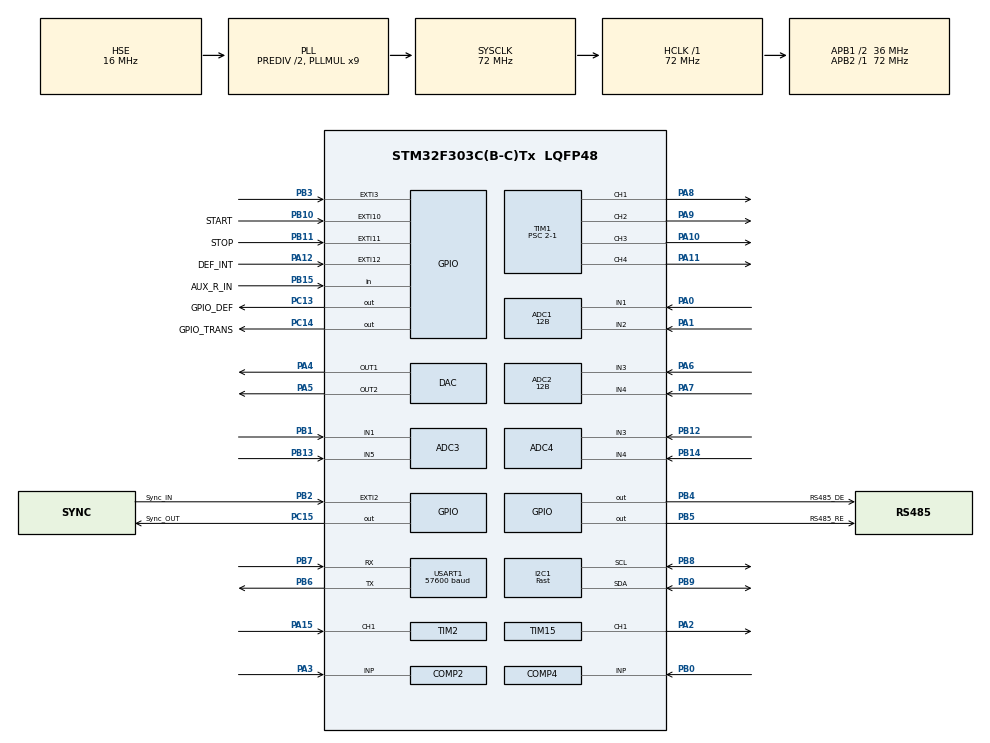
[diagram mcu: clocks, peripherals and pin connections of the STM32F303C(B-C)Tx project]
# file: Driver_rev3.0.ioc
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ADC1.Channel-3\#ChannelRegularConversion=ADC_CHANNEL_1
ADC1.ClockPrescaler=ADC_CLOCK_SYNC_PCLK_DIV1
ADC1.ContinuousConvMode=DISABLE
ADC1.DMAContinuousRequests=ENABLE
ADC1.DataAlign=ADC_DATAALIGN_RIGHT
ADC1.DiscontinuousConvMode=DISABLE
ADC1.EOCSelection=ADC_EOC_SINGLE_CONV
ADC1.EnableAnalogWatchDog1=false
ADC1.EnableAnalogWatchDog2=false
ADC1.EnableAnalogWatchDog3=false
ADC1.EnableInjectedConversion=ENABLE
ADC1.EnableRegularConversion=ENABLE
ADC1.ExternalTrigConv=ADC_SOFTWARE_START
ADC1.ExternalTrigConvEdge=ADC_EXTERNALTRIGCONVEDGE_NONE
ADC1.InjNumberOfConversion=0
ADC1.LowPowerAutoWait=DISABLE
ADC1.NbrOfConversion=1
ADC1.NbrOfConversionFlag=1
ADC1.Offset-3\#ChannelRegularConversion=0
ADC1.OffsetNumber-3\#ChannelRegularConversion=ADC_OFFSET_NONE
ADC1.Overrun=ADC_OVR_DATA_OVERWRITTEN
ADC1.Rank-3\#ChannelRegularConversion=1
ADC1.Resolution=ADC_RESOLUTION_12B
ADC1.SamplingTime-3\#ChannelRegularConversion=ADC_SAMPLETIME_181CYCLES_5
ADC1.ScanConvMode=ADC_SCAN_DISABLE
ADC1.master=1
ADC2.Channel-8\#ChannelRegularConversion=ADC_CHANNEL_3
ADC2.ClockPrescaler=ADC_CLOCK_SYNC_PCLK_DIV1
ADC2.ContinuousConvMode=DISABLE
ADC2.DMAContinuousRequests=ENABLE
ADC2.DataAlign=ADC_DATAALIGN_RIGHT
ADC2.DiscontinuousConvMode=DISABLE
ADC2.EOCSelection=ADC_EOC_SINGLE_CONV
ADC2.EnableAnalogWatchDog1=false
ADC2.EnableAnalogWatchDog2=false
ADC2.EnableAnalogWatchDog3=false
ADC2.EnableInjectedConversion=ENABLE
ADC2.EnableRegularConversion=ENABLE
ADC2.ExternalTrigConv=ADC_SOFTWARE_START
ADC2.ExternalTrigConvEdge=ADC_EXTERNALTRIGCONVEDGE_NONE
ADC2.InjNumberOfConversion=0
ADC2.LowPowerAutoWait=DISABLE
ADC2.NbrOfConversion=1
ADC2.NbrOfConversionFlag=1
ADC2.Offset-8\#ChannelRegularConversion=0
ADC2.OffsetNumber-8\#ChannelRegularConversion=ADC_OFFSET_NONE
ADC2.Overrun=ADC_OVR_DATA_OVERWRITTEN
ADC2.Rank-8\#ChannelRegularConversion=1
ADC2.Resolution=ADC_RESOLUTION_12B
ADC2.SamplingTime-8\#ChannelRegularConversion=ADC_SAMPLETIME_181CYCLES_5
ADC2.ScanConvMode=ADC_SCAN_DISABLE
ADC3.Channel-0\#ChannelRegularConversion=ADC_CHANNEL_1
ADC3.ClockPrescaler=ADC_CLOCK_SYNC_PCLK_DIV1
ADC3.ContinuousConvMode=DISABLE
ADC3.DMAContinuousRequests=ENABLE
ADC3.EnableInjectedConversion=ENABLE
ADC3.ExternalTrigConv=ADC_SOFTWARE_START
ADC3.Mode=ADC_MODE_INDEPENDENT
ADC3.NbrOfConversion=1
ADC3.NbrOfConversionFlag=1
ADC3.Offset-0\#ChannelRegularConversion=0
ADC3.OffsetNumber-0\#ChannelRegularConversion=ADC_OFFSET_NONE
ADC3.Rank-0\#ChannelRegularConversion=1
ADC3.SamplingTime-0\#ChannelRegularConversion=ADC_SAMPLETIME_181CYCLES_5
ADC3.master=1
ADC4.Channel-0\#ChannelRegularConversion=ADC_CHANNEL_3
ADC4.ClockPrescaler=ADC_CLOCK_SYNC_PCLK_DIV1
ADC4.ContinuousConvMode=DISABLE
ADC4.DMAContinuousRequests=ENABLE
ADC4.EnableInjectedConversion=ENABLE
ADC4.ExternalTrigConv=ADC_SOFTWARE_START
ADC4.NbrOfConversionFlag=1
ADC4.Offset-0\#ChannelRegularConversion=0
ADC4.OffsetNumber-0\#ChannelRegularConversion=ADC_OFFSET_NONE
ADC4.Rank-0\#ChannelRegularConversion=1
ADC4.SamplingTime-0\#ChannelRegularConversion=ADC_SAMPLETIME_181CYCLES_5
COMP2.Hysteresis=COMP_HYSTERESIS_HIGH
COMP2.InvertingInput=COMP_INVERTINGINPUT_DAC1_CH1
COMP2.Output=COMP_OUTPUT_TIM1BKIN
COMP2.TriggerMode=COMP_TRIGGERMODE_IT_RISING
COMP4.Hysteresis=COMP_HYSTERESIS_HIGH
COMP4.InvertingInput=COMP_INVERTINGINPUT_DAC1_CH2
COMP4.Output=COMP_OUTPUT_TIM1BKIN
COMP4.TriggerMode=COMP_TRIGGERMODE_IT_RISING
DAC.DAC_Trigger=DAC_TRIGGER_NONE
Dma.ADC1.3.Direction=DMA_PERIPH_TO_MEMORY
Dma.ADC1.3.Instance=DMA1_Channel1
Dma.ADC1.3.MemDataAlignment=DMA_MDATAALIGN_WORD
Dma.ADC1.3.MemInc=DMA_MINC_ENABLE
Dma.ADC1.3.Mode=DMA_CIRCULAR
Dma.ADC1.3.PeriphDataAlignment=DMA_PDATAALIGN_WORD
Dma.ADC1.3.PeriphInc=DMA_PINC_DISABLE
Dma.ADC1.3.Priority=DMA_PRIORITY_LOW
Dma.ADC2.2.Direction=DMA_PERIPH_TO_MEMORY
Dma.ADC2.2.Instance=DMA2_Channel1
Dma.ADC2.2.MemDataAlignment=DMA_MDATAALIGN_WORD
Dma.ADC2.2.MemInc=DMA_MINC_ENABLE
Dma.ADC2.2.Mode=DMA_CIRCULAR
Dma.ADC2.2.PeriphDataAlignment=DMA_PDATAALIGN_WORD
Dma.ADC2.2.PeriphInc=DMA_PINC_DISABLE
Dma.ADC2.2.Priority=DMA_PRIORITY_LOW
Dma.ADC3.0.Direction=DMA_PERIPH_TO_MEMORY
Dma.ADC3.0.Instance=DMA2_Channel5
Dma.ADC3.0.MemDataAlignment=DMA_MDATAALIGN_WORD
Dma.ADC3.0.MemInc=DMA_MINC_ENABLE
Dma.ADC3.0.Mode=DMA_CIRCULAR
Dma.ADC3.0.PeriphDataAlignment=DMA_PDATAALIGN_WORD
Dma.ADC3.0.PeriphInc=DMA_PINC_DISABLE
Dma.ADC3.0.Priority=DMA_PRIORITY_LOW
Dma.ADC4.1.Direction=DMA_PERIPH_TO_MEMORY
Dma.ADC4.1.Instance=DMA2_Channel2
Dma.ADC4.1.MemDataAlignment=DMA_MDATAALIGN_WORD
Dma.ADC4.1.MemInc=DMA_MINC_ENABLE
Dma.ADC4.1.Mode=DMA_CIRCULAR
Dma.ADC4.1.PeriphDataAlignment=DMA_PDATAALIGN_WORD
Dma.ADC4.1.PeriphInc=DMA_PINC_DISABLE
Dma.ADC4.1.Priority=DMA_PRIORITY_LOW
Dma.Request0=ADC3
Dma.Request1=ADC4
Dma.Request2=ADC2
Dma.Request3=ADC1
Dma.Request4=USART1_RX
Dma.Request5=USART1_TX
Dma.USART1_RX.4.Direction=DMA_PERIPH_TO_MEMORY
Dma.USART1_RX.4.Instance=DMA1_Channel5
Dma.USART1_RX.4.MemDataAlignment=DMA_MDATAALIGN_BYTE
Dma.USART1_RX.4.MemInc=DMA_MINC_ENABLE
Dma.USART1_RX.4.Mode=DMA_NORMAL
Dma.USART1_RX.4.PeriphDataAlignment=DMA_PDATAALIGN_BYTE
Dma.USART1_RX.4.PeriphInc=DMA_PINC_DISABLE
Dma.USART1_RX.4.Priority=DMA_PRIORITY_LOW
Dma.USART1_TX.5.Direction=DMA_MEMORY_TO_PERIPH
Dma.USART1_TX.5.Instance=DMA1_Channel4
Dma.USART1_TX.5.MemDataAlignment=DMA_MDATAALIGN_BYTE
Dma.USART1_TX.5.MemInc=DMA_MINC_ENABLE
Dma.USART1_TX.5.Mode=DMA_NORMAL
Dma.USART1_TX.5.PeriphDataAlignment=DMA_PDATAALIGN_BYTE
Dma.USART1_TX.5.PeriphInc=DMA_PINC_DISABLE
Dma.USART1_TX.5.Priority=DMA_PRIORITY_LOW
I2C1.I2C_Speed_Mode=I2C_Fast
I2C1.Timing=0x00702681
Mcu.Family=STM32F3
Mcu.Name=STM32F303C(B-C)Tx
Mcu.Package=LQFP48
NVIC.COMP1_2_3_IRQn=true\:0\:0\:false\:false\:true\:true
NVIC.COMP4_5_6_IRQn=true\:0\:0\:false\:false\:true\:true
NVIC.DMA1_Channel1_IRQn=true\:0\:0\:false\:false\:true\:true
NVIC.DMA1_Channel4_IRQn=true\:0\:0\:false\:false\:true\:true
NVIC.DMA1_Channel5_IRQn=true\:0\:0\:false\:false\:true\:true
NVIC.DMA2_Channel1_IRQn=true\:0\:0\:false\:false\:true\:true
NVIC.DMA2_Channel2_IRQn=true\:0\:0\:false\:false\:true\:true
NVIC.DMA2_Channel5_IRQn=true\:0\:0\:false\:false\:true\:true
NVIC.EXTI15_10_IRQn=true\:1\:0\:true\:false\:true\:true
NVIC.EXTI2_TSC_IRQn=true\:0\:0\:false\:false\:true\:true
NVIC.PriorityGroup=NVIC_PRIORITYGROUP_4
NVIC.TIM1_CC_IRQn=true\:0\:0\:false\:false\:true\:true
NVIC.TIM1_UP_TIM16_IRQn=true\:0\:0\:false\:false\:true\:true
NVIC.TIM2_IRQn=true\:0\:0\:false\:false\:true\:true
NVIC.TIM6_DAC_IRQn=true\:0\:0\:false\:false\:true\:true
NVIC.TIM7_IRQn=true\:0\:0\:false\:false\:true\:true
NVIC.USART1_IRQn=true\:0\:0\:false\:false\:true\:true
PA0.Mode=IN1-Single-Ended
PA0.Signal=ADC1_IN1
PA1.Mode=IN2-Single-Ended
PA1.Signal=ADC1_IN2
PA10.Signal=S_TIM1_CH3
PA11.Signal=S_TIM1_CH4
PA12.GPIO_Label=DEF_INT
PA12.Signal=GPXTI12
PA13.Mode=Serial_Wire
PA13.Signal=SYS_JTMS-SWDIO
PA14.Mode=Serial_Wire
PA14.Signal=SYS_JTCK-SWCLK
PA15.Signal=S_TIM2_CH1_ETR
PA2.Signal=S_TIM15_CH1
PA3.Mode=INP
PA3.Signal=COMP2_INP
PA4.Signal=COMP_DAC1_group
PA5.Signal=COMP_DAC2_group
PA6.Mode=IN3-Single-Ended
PA6.Signal=ADC2_IN3
PA7.Mode=IN4-Single-Ended
PA7.Signal=ADC2_IN4
PA8.Signal=S_TIM1_CH1
PA9.Signal=S_TIM1_CH2
PB0.Mode=INP
PB0.Signal=COMP4_INP
PB1.Mode=IN1-Single-Ended
PB1.Signal=ADC3_IN1
PB10.GPIO_Label=START
PB10.GPIO_PuPd=GPIO_PULLUP
PB10.Signal=GPXTI10
PB11.GPIO_Label=STOP
PB11.GPIO_PuPd=GPIO_PULLUP
PB11.Signal=GPXTI11
PB12.Mode=IN3-Single-Ended
PB12.Signal=ADC4_IN3
PB13.Mode=IN5-Single-Ended
PB13.Signal=ADC3_IN5
PB14.Mode=IN4-Single-Ended
PB14.Signal=ADC4_IN4
PB15.GPIO_Label=AUX_R_IN
PB15.GPIO_PuPd=GPIO_PULLUP
PB15.Signal=GPIO_Input
PB2.GPIO_Label=Sync_IN
PB2.GPIO_PuPd=GPIO_PULLDOWN
PB2.Signal=GPXTI2
PB3.GPIO_PuPd=GPIO_PULLDOWN
PB3.Signal=GPXTI3
PB4.GPIO_Label=RS485_DE
PB4.Signal=GPIO_Output
PB5.GPIO_Label=RS485_RE
PB5.Signal=GPIO_Output
PB6.Mode=Asynchronous
PB6.Signal=USART1_TX
PB7.Mode=Asynchronous
PB7.Signal=USART1_RX
PB8.Mode=I2C
PB8.Signal=I2C1_SCL
PB9.Mode=I2C
PB9.Signal=I2C1_SDA
PC13.GPIO_Label=GPIO_DEF
PC13.Signal=GPIO_Output
PC14-OSC32_IN.GPIO_Label=GPIO_TRANS
PC14-OSC32_IN.Signal=GPIO_Output
PC15-OSC32_OUT.GPIO_Label=Sync_OUT
PC15-OSC32_OUT.GPIO_PuPd=GPIO_PULLDOWN
PC15-OSC32_OUT.Signal=GPIO_Output
PF0-OSC_IN.Mode=HSE-External-Oscillator
PF0-OSC_IN.Signal=RCC_OSC_IN
PF1-OSC_OUT.Mode=HSE-External-Oscillator
PF1-OSC_OUT.Signal=RCC_OSC_OUT
ProjectManager.HeapSize=0x200
ProjectManager.StackSize=0x400
ProjectManager.TargetToolchain=MDK-ARM V5
RCC.AHBFreq_Value=72000000
RCC.APB1CLKDivider=RCC_HCLK_DIV2
RCC.APB1Freq_Value=36000000
RCC.APB1TimFreq_Value=72000000
RCC.APB2Freq_Value=72000000
RCC.APB2TimFreq_Value=72000000
RCC.CortexFreq_Value=72000000
RCC.HCLKFreq_Value=72000000
RCC.HSE_VALUE=16000000
RCC.HSI_VALUE=8000000
RCC.I2c1ClockSelection=RCC_I2C1CLKSOURCE_SYSCLK
RCC.LSE_VALUE=32768
RCC.PLLMUL=RCC_PLL_MUL9
RCC.PLLSourceVirtual=RCC_PLLSOURCE_HSE
RCC.RCC_PLLsource_Clock_Source_FROM_HSE=RCC_HSE_PREDIV_DIV2
RCC.SYSCLKFreq_VALUE=72000000
RCC.SYSCLKSourceVirtual=RCC_SYSCLKSOURCE_PLLCLK
RCC.USBFreq_Value=72000000
SH.COMP_DAC1_group.0=DAC_OUT1,DAC_OUT1
SH.COMP_DAC2_group.0=DAC_OUT2,Enable_DAC_OUT2
SH.S_TIM15_CH1.0=TIM15_CH1,Output Compare1 CH1
SH.S_TIM1_CH1.0=TIM1_CH1,PWM Generation1 CH1
SH.S_TIM1_CH2.0=TIM1_CH2,PWM Generation2 CH2
SH.S_TIM1_CH3.0=TIM1_CH3,PWM Generation3 CH3
SH.S_TIM1_CH4.0=TIM1_CH4,PWM Generation4 CH4
SH.S_TIM2_CH1_ETR.0=TIM2_CH1,Input_Capture1_from_TI1
SH.S_TIM2_CH1_ETR.1=TIM2_CH1,Input_Capture2_from_TI1
TIM1.BreakPolarity=TIM_BREAKPOLARITY_LOW
TIM1.BreakState=TIM_BREAK_ENABLE
TIM1.Channel-PWM\ Generation1\ CH1=TIM_CHANNEL_1
TIM1.Channel-PWM\ Generation2\ CH2=TIM_CHANNEL_2
TIM1.Channel-PWM\ Generation3\ CH3=TIM_CHANNEL_3
TIM1.Channel-PWM\ Generation4\ CH4=TIM_CHANNEL_4
TIM1.CounterMode=TIM_COUNTERMODE_CENTERALIGNED1
TIM1.OCMode_PWM-PWM\ Generation1\ CH1=TIM_OCMODE_PWM2
TIM1.OCMode_PWM-PWM\ Generation2\ CH2=TIM_OCMODE_PWM2
TIM1.Prescaler=2-1
TIM15.Channel-Output\ Compare1\ CH1=TIM_CHANNEL_1
TIM15.OCIdleState_1=TIM_OCIDLESTATE_RESET
TIM15.OCMode_1=TIM_OCMODE_FORCED_ACTIVE
TIM15.OCPolarity_1=TIM_OCPOLARITY_HIGH
TIM15.Period=100
TIM15.Prescaler=7200-1
TIM15.Pulse-Output\ Compare1\ CH1=90
TIM16.Channel=TIM_CHANNEL_1
TIM16.ClockDivision=TIM_CLOCKDIVISION_DIV1
TIM16.Period=12000-1
TIM16.Prescaler=6000-1
TIM16.Pulse=360
TIM2.AutoReloadPreload=TIM_AUTORELOAD_PRELOAD_ENABLE
TIM2.Channel-Input_Capture1_from_TI1=TIM_CHANNEL_1
TIM2.Channel-Input_Capture2_from_TI1=TIM_CHANNEL_2
TIM2.ICFilter_CH1=4
TIM2.Period=0xFFFFF
TIM2.Prescaler=1-1
TIM2.TIM_MasterSlaveMode=TIM_MASTERSLAVEMODE_DISABLE
TIM6.Period=1000
TIM6.Prescaler=32000-1
TIM7.Prescaler=4-1
USART1.BaudRate=57600
USART1.VirtualMode-Asynchronous=VM_ASYNC
VP_COMP2_VS_DAC1OUT1.Mode=INM_DACOUT1
VP_COMP4_VS_DAC1OUT2.Mode=INM_DACOUT2
VP_CRC_VS_CRC.Mode=CRC_Activate
VP_TIM15_VS_ClockSourceINT.Mode=Internal
VP_TIM15_VS_OPM.Mode=OPM_bit
VP_TIM16_VS_ClockSourceINT.Mode=Enable_Timer
VP_TIM16_VS_no_output1.Mode=Output Compare1 No Output
VP_TIM1_VS_ClockSourceINT.Mode=Internal
VP_TIM2_VS_ClockSourceINT.Mode=Internal
VP_TIM6_VS_ClockSourceINT.Mode=Enable_Timer
VP_TIM7_VS_ClockSourceINT.Mode=Enable_Timer
board=Driver_rev3.0

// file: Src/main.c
/**
  ******************************************************************************
  * @file           : main.c
  * @brief          : Main program body
  ******************************************************************************
  ** This notice applies to any and all portions of this file
  * that are not between comment pairs USER CODE BEGIN and
  * USER CODE END. Other portions of this file, whether
  * inserted by the user or by software development tools
  * are owned by their respective copyright owners.
  *
  * COPYRIGHT(c) 2018 STMicroelectronics
  *
  * Redistribution and use in source and binary forms, with or without modification,
  * are permitted provided that the following conditions are met:
  *   1. Redistributions of source code must retain the above copyright notice,
  *      this list of conditions and the following disclaimer.
  *   2. Redistributions in binary form must reproduce the above copyright notice,
  *      this list of conditions and the following disclaimer in the documentation
  *      and/or other materials provided with the distribution.
  *   3. Neither the name of STMicroelectronics nor the names of its contributors
  *      may be used to endorse or promote products derived from this software
  *      without specific prior written permission.
  *
  * THIS SOFTWARE IS PROVIDED BY THE COPYRIGHT HOLDERS AND CONTRIBUTORS "AS IS"
  * AND ANY EXPRESS OR IMPLIED WARRANTIES, INCLUDING, BUT NOT LIMITED TO, THE
  * IMPLIED WARRANTIES OF MERCHANTABILITY AND FITNESS FOR A PARTICULAR PURPOSE ARE
  * DISCLAIMED. IN NO EVENT SHALL THE COPYRIGHT HOLDER OR CONTRIBUTORS BE LIABLE
  * FOR ANY DIRECT, INDIRECT, INCIDENTAL, SPECIAL, EXEMPLARY, OR CONSEQUENTIAL
  * DAMAGES (INCLUDING, BUT NOT LIMITED TO, PROCUREMENT OF SUBSTITUTE GOODS OR
  * SERVICES; LOSS OF USE, DATA, OR PROFITS; OR BUSINESS INTERRUPTION) HOWEVER
  * CAUSED AND ON ANY THEORY OF LIABILITY, WHETHER IN CONTRACT, STRICT LIABILITY,
  * OR TORT (INCLUDING NEGLIGENCE OR OTHERWISE) ARISING IN ANY WAY OUT OF THE USE
  * OF THIS SOFTWARE, EVEN IF ADVISED OF THE POSSIBILITY OF SUCH DAMAGE.
  *
  ******************************************************************************
  */
#include "main.h"
#include "stm32f3xx_hal.h"
#include "adc.h"
#include "comp.h"
#include "crc.h"
#include "dac.h"
#include "dma.h"
#include "i2c.h"
#include "tim.h"
#include "usart.h"
#include "gpio.h"

/* USER CODE BEGIN Includes */
#include "general_math.h"
/* USER CODE END Includes */

/* USER CODE BEGIN PV */
/* Private variables ---------------------------------------------------------*/

uint32_t psk = 0;								// рабочая длительность импульса
uint32_t psk_buff = 0;					// временная длительность импульса
uint32_t Period;								// длительность периода
uint32_t Pulse_1;								// длительность верхнего ключа диагональ В
uint32_t Pulse_2;								// длительность нижнего ключа диагональ В
uint32_t Pulse_3;								// длительность верхнего ключа диагональ А
uint32_t Pulse_4;								// длительность нижнего ключа диагональ А
uint32_t DeathTime_u = 50;			// длительность паузы между диагоналями в  мкс
uint32_t DeathTime;							// рабочая длительность паузы в тиках таймера
int32_t  Overlap_u = -50;					// длительность перекрытия нижних ключей в мкс
uint32_t Overlap;								// рабочая длительность паузы в тиках таймера
uint32_t TimeLimit_u = 650;			// максимальная длительность импульса верхних ключей
uint32_t TimeLimit;							// рабочая длительность импульса верхних ключей
uint32_t Tick = 8;							// количество тиков таймера в 1 мкс
uint8_t  SoftStart = ON;				// плавный запуск вкл/выкл
uint8_t	 State = pwmSTART;			// состояние передачи 0 - запуск, 1 - передача, 2 - останов
uint16_t DataLenght = 8;				// длина сообщения
uint8_t  BaseLenght;						// длина посылки
uint16_t  Position = 0;					// позиция в сообщении
uint8_t  Data[MAXDAT];		// данные
uint8_t  mData[] = {85, 162, 34, 93, 205, 47, 13, 5};
uint32_t Deviation = 8;
uint32_t f1 = 719;							// передача "1"
uint32_t f2 = 769;							// передача "0"
float BR = 1;						 				// скорость передачи
#ifndef GEN_MODE
uint8_t  Mode = MAIN;						// режим работы генератора 1 - основной, 0 - внешний, 2 - генератор
#else
uint8_t  Mode = GEN;						// режим работы генератора 1 - основной, 0 - внешний, 2 - генератор
#endif
uint32_t BufferADC_1[4];				// буфер АЦП1 каналы 1 - 4
uint32_t BufferADC_2[4];				// буфер АЦП2 каналы 6 - 9
uint32_t BufferADC_3[2];				// буфер АЦП3 каналы 11 - 12

#ifdef GEN_MODE
		#ifdef F719
			uint16_t fgen = 719;
		#endif
		#ifdef F1000
			uint16_t fgen = 1000;
		#endif
		#ifdef F1200
			uint16_t fgen = 1200;
		#endif

#else
uint16_t fgen = 1000;
#endif
extern float mean1;
extern float mean2;
extern float mean3;
extern float mean4;
extern uint32_t tmpData;

extern float UI_break[];
extern float UI_fuse[];

extern float Us4;
extern float C4;

float ftmp1;
float ftmp2;
float ftmp3;
float ftmp4;

uint32_t tmp;

uint32_t aCNT;
uint8_t  bCNT;

extern uint32_t ADC1buff;
extern uint32_t ADC2buff;
extern uint32_t ADC3buff;
extern uint32_t ADC4buff;

extern uint8_t CodeMode;
extern uint8_t RepeatNum;

extern StatusSystem_t STATUS;
extern SettingParametrs_t SETUP;
extern UART2_Queue_Data UART2RecvData;
extern UART2Recv_t UART2_RecvType;

/* USER CODE END PV */

void SystemClock_Config(void);

/* USER CODE BEGIN PFP */
/* Private function prototypes -----------------------------------------------*/

/* USER CODE END PFP */

int main(void)
{

  /* MCU Configuration----------------------------------------------------------*/

  /* Reset of all peripherals, Initializes the Flash interface and the Systick. */
  HAL_Init();

  /* Configure the system clock */
  SystemClock_Config();

  /* Initialize all configured peripherals */
  MX_GPIO_Init();
  MX_DMA_Init();
  MX_ADC1_Init();
  MX_ADC3_Init();
  MX_ADC4_Init();
  MX_DAC_Init();
  MX_I2C1_Init();
  MX_TIM1_Init();
  MX_TIM2_Init();
  MX_USART1_UART_Init();
  MX_ADC2_Init();
  MX_COMP4_Init();
  MX_TIM6_Init();
  MX_TIM7_Init();
  MX_COMP2_Init();
  MX_TIM15_Init();
  MX_TIM16_Init();
  MX_CRC_Init();
  /* USER CODE BEGIN 2 */

	HAL_NVIC_DisableIRQ(Sync_IN_EXTI_IRQn);
	HAL_TIM_OC_Init(&htim15);
	HAL_TIM_OC_Start(&htim15,TIM_CHANNEL_1);
	HAL_TIM_OC_Init(&htim16);
	HAL_TIM_OC_Start_IT(&htim16,TIM_CHANNEL_1);
	HAL_GPIO_WritePin(GPIOC,GPIO_DEF_Pin,GPIO_PIN_SET);
	HAL_GPIO_WritePin(GPIOC,GPIO_TRANS_Pin,GPIO_PIN_SET);

	HAL_Delay(500);

	HAL_GPIO_WritePin(GPIOC,GPIO_DEF_Pin,GPIO_PIN_RESET);
	HAL_GPIO_WritePin(GPIOC,GPIO_TRANS_Pin,GPIO_PIN_RESET);

	/*HAL_DAC_Start(&hdac,DAC_CHANNEL_1);
  HAL_DAC_SetValue(&hdac,DAC_CHANNEL_1,DAC_ALIGN_12B_R,1240);

	HAL_DAC_Start(&hdac,DAC_CHANNEL_2);
  HAL_DAC_SetValue(&hdac,DAC_CHANNEL_2,DAC_ALIGN_12B_R,1240);

	HAL_COMP_Init(&hcomp2);
	HAL_COMP_Init(&hcomp4);
	HAL_COMP_Start_IT(&hcomp2);
	HAL_COMP_Start_IT(&hcomp4);
*/

	HAL_ADCEx_Calibration_Start(&hadc1,ADC_SINGLE_ENDED);
	tmp = HAL_ADCEx_Calibration_GetValue(&hadc1,ADC_SINGLE_ENDED);
	HAL_ADCEx_Calibration_SetValue(&hadc1,ADC_SINGLE_ENDED,tmp);
	HAL_Delay(10);
	HAL_ADCEx_Calibration_Start(&hadc2,ADC_SINGLE_ENDED);
	tmp = HAL_ADCEx_Calibration_GetValue(&hadc2,ADC_SINGLE_ENDED);
	HAL_ADCEx_Calibration_SetValue(&hadc2,ADC_SINGLE_ENDED,tmp);
	HAL_Delay(10);
	HAL_ADCEx_Calibration_Start(&hadc3,ADC_SINGLE_ENDED);
	tmp = HAL_ADCEx_Calibration_GetValue(&hadc3,ADC_SINGLE_ENDED);
	HAL_ADCEx_Calibration_SetValue(&hadc3,ADC_SINGLE_ENDED,tmp);
	HAL_Delay(10);
	HAL_ADCEx_Calibration_Start(&hadc4,ADC_SINGLE_ENDED);
	tmp = HAL_ADCEx_Calibration_GetValue(&hadc4,ADC_SINGLE_ENDED);
	HAL_ADCEx_Calibration_SetValue(&hadc4,ADC_SINGLE_ENDED,tmp);
	HAL_Delay(10);

	CalibrateMean();

	UI_break[0] = 10e-3f;
	UI_break[1] = 10e-3f;
	UI_break[2] = 10e-3f;
	UI_break[3] = 10e-3f;

	UI_fuse[0] = 400e-3f;
	UI_fuse[1] = 400e-3f;
	UI_fuse[2] = 400e-3f;
	UI_fuse[3] = 400e-3f;

	SETUP.turns_ant[0] = O1H;
	SETUP.turns_ant[1] = O2H;
	SETUP.turns_ant[2] = O3H;
	SETUP.turns_ant[3] = O4H;
	SETUP.turns_prim   = INL;
	//if(*(__IO uint32_t*)(ADR_START) != 0xFFFFFFFF)
		//LoadSetting();

	//Us4 = CalculateSupply(0, 0, 1, 4);
	//SETUP.cap = 1 ;
	//C4 = 8.55e-6f;

	volatile uint32_t *UniqueID = (uint32_t *)0x1FFFF7AC;
	volatile uint32_t __UniqueID[3];
	__UniqueID[0] = UniqueID[0];
	__UniqueID[1] = UniqueID[1];
	__UniqueID[2] = UniqueID[2];

	uint32_t CRCUniqueID = HAL_CRC_Calculate(&hcrc,(uint32_t*)&UniqueID,sizeof(UniqueID)/sizeof(uint32_t));

	UART2_RecvType = UART2_RECV_CMD;
	HAL_UART_Receive_IT(&huart1,(uint8_t*)&UART2RecvData.cmd, sizeof(UART2RecvData.cmd));

	SETUP.softsrart = ON;

	STATUS.driver_fw = FIRMWARE;
	STATUS.driver_hw = HARDWARE;
	STATUS.trans_ok = 1;
	STATUS.drvenable = 1;
	STATUS.trans_state = 0;
	CommandReply(U2CT_DRIVER_FW, 'i', STATUS.driver_fw);
	CommandReply(U2CT_DRIVER_HW, 'i', STATUS.driver_hw);
	CommandReply(U2CT_TRANS_OK, 'i', STATUS.trans_ok);
	CommandReply(U2CT_STATE, 'i', STATUS.trans_state);
	CommandReply(U2CT_DRVENABLE, 'i', STATUS.drvenable);

	#ifdef DEBUG
//		f1 = 984;
//		f2 = 966;
//		BR = 2;
//		CodeMode = 0;
//		SETUP.alarm_msg = 1;
		SETUP.softsrart = 0;
		SoftStart = 0;
		RepeatNum = 11;
		f1 = 984;
		f2 = 966;
		BR = 2;
		CodeMode = 2;
		tmpData = 1000;
		Parsing(55,0);
	#endif
  /* USER CODE END 2 */

  /* Infinite loop */
  while (1)
  {

  /* USER CODE BEGIN 3 */

		if(TIM2->CNT > 0xF0000)
			StopPWM();

  }
  /* USER CODE END 3 */

}

void SystemClock_Config(void)
{

  RCC_OscInitTypeDef RCC_OscInitStruct;
  RCC_ClkInitTypeDef RCC_ClkInitStruct;
  RCC_PeriphCLKInitTypeDef PeriphClkInit;

    /**Initializes the CPU, AHB and APB busses clocks
    */
  RCC_OscInitStruct.OscillatorType = RCC_OSCILLATORTYPE_HSE;
  RCC_OscInitStruct.HSEState = RCC_HSE_ON;
  RCC_OscInitStruct.HSEPredivValue = RCC_HSE_PREDIV_DIV2;
  RCC_OscInitStruct.HSIState = RCC_HSI_ON;
  RCC_OscInitStruct.PLL.PLLState = RCC_PLL_ON;
  RCC_OscInitStruct.PLL.PLLSource = RCC_PLLSOURCE_HSE;
  RCC_OscInitStruct.PLL.PLLMUL = RCC_PLL_MUL9;
  if (HAL_RCC_OscConfig(&RCC_OscInitStruct) != HAL_OK)
  {
    _Error_Handler(__FILE__, __LINE__);
  }

    /**Initializes the CPU, AHB and APB busses clocks
    */
  RCC_ClkInitStruct.ClockType = RCC_CLOCKTYPE_HCLK|RCC_CLOCKTYPE_SYSCLK
                              |RCC_CLOCKTYPE_PCLK1|RCC_CLOCKTYPE_PCLK2;
  RCC_ClkInitStruct.SYSCLKSource = RCC_SYSCLKSOURCE_PLLCLK;
  RCC_ClkInitStruct.AHBCLKDivider = RCC_SYSCLK_DIV1;
  RCC_ClkInitStruct.APB1CLKDivider = RCC_HCLK_DIV2;
  RCC_ClkInitStruct.APB2CLKDivider = RCC_HCLK_DIV1;

  if (HAL_RCC_ClockConfig(&RCC_ClkInitStruct, FLASH_LATENCY_2) != HAL_OK)
  {
    _Error_Handler(__FILE__, __LINE__);
  }

  PeriphClkInit.PeriphClockSelection = RCC_PERIPHCLK_USART1|RCC_PERIPHCLK_I2C1
                              |RCC_PERIPHCLK_TIM1;
  PeriphClkInit.Usart1ClockSelection = RCC_USART1CLKSOURCE_PCLK2;
  PeriphClkInit.I2c1ClockSelection = RCC_I2C1CLKSOURCE_SYSCLK;
  PeriphClkInit.Tim1ClockSelection = RCC_TIM1CLK_HCLK;
  if (HAL_RCCEx_PeriphCLKConfig(&PeriphClkInit) != HAL_OK)
  {
    _Error_Handler(__FILE__, __LINE__);
  }

    /**Configure the Systick interrupt time
    */
  HAL_SYSTICK_Config(HAL_RCC_GetHCLKFreq()/1000);

    /**Configure the Systick
    */
  HAL_SYSTICK_CLKSourceConfig(SYSTICK_CLKSOURCE_HCLK);

  /* SysTick_IRQn interrupt configuration */
  HAL_NVIC_SetPriority(SysTick_IRQn, 0, 0);
}

void _Error_Handler(char *file, int line)
{
  while(1)
  {
  }
}

/************************ (C) COPYRIGHT STMicroelectronics *****END OF FILE****/
